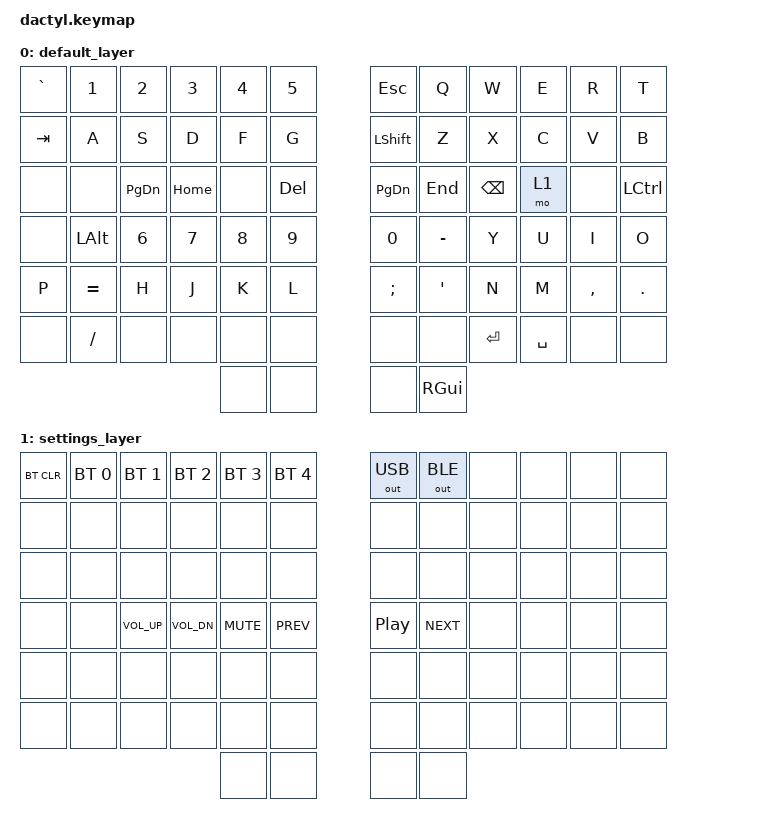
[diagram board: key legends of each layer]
#include <behaviors.dtsi>
#include <dt-bindings/zmk/keys.h>
#include <dt-bindings/zmk/bt.h>
#include <dt-bindings/zmk/outputs.h>

/ {
    keymap {
        compatible = "zmk,keymap";

        default_layer {
            // Left Half                                       // Right Half
            bindings = <
                &kp GRAVE &kp N1 &kp N2 &kp N3 &kp N4 &kp N5 &kp ESC &kp Q &kp W &kp E &kp R &kp T
                &kp TAB &kp A &kp S &kp D &kp F &kp G &kp LSHFT &kp Z &kp X &kp C &kp V &kp B
                &none &none &kp PG_DN &kp HOME &none &kp DEL &kp PG_DN &kp END &kp BSPC &mo 1 &none &kp LCTRL
                &none &kp LALT &kp N6 &kp N7 &kp N8 &kp N9 &kp N0 &kp MINUS &kp Y &kp U &kp I &kp O
                &kp P &kp EQUAL &kp H &kp J &kp K &kp L &kp SEMI &kp SQT &kp N &kp M &kp COMMA &kp DOT
                &none &kp FSLH &none &none &none &none &none &none &kp RET &kp SPACE &none &none
                &none &none &none &kp RGUI
            >;
        };

        settings_layer {
            // Left Half                                       // Right Half
            bindings = <
                &bt BT_CLR &bt BT_SEL 0 &bt BT_SEL 1 &bt BT_SEL 2 &bt BT_SEL 3 &bt BT_SEL 4 &out OUT_USB &out OUT_BLE &none &none &none &none
                &none &none &none &none &none &none &none &none &none &none &none &none
                &none &none &none &none &none &none &none &none &none &none &none &none
                &none &none &kp C_VOL_UP &kp C_VOL_DN &kp C_MUTE &kp C_PREV &kp C_PLAY_PAUSE &kp C_NEXT &none &none &none &none
                &none &none &none &none &none &none &none &none &none &none &none &none
                &none &none &none &none &none &none &none &none &none &none &none &none
                &none &none &none &none
            >;
        };
    };
};
